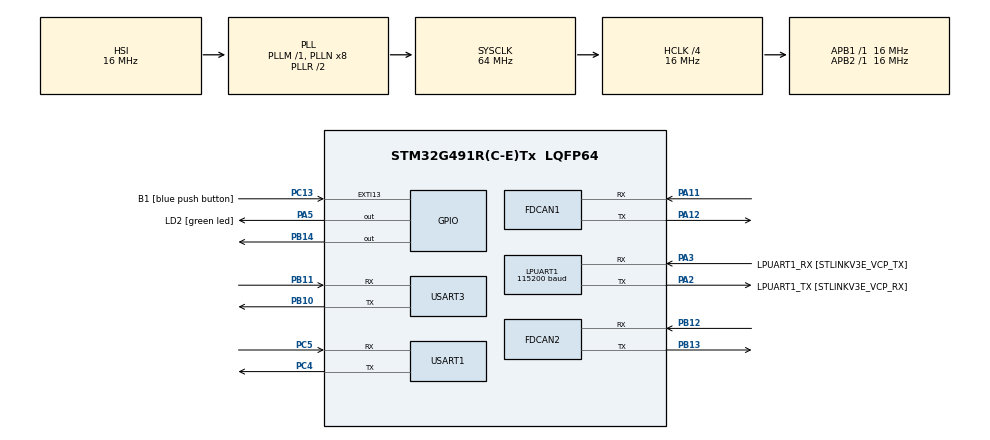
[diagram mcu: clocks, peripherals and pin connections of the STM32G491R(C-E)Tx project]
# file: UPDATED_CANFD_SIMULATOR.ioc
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FDCAN1.AutoRetransmission=ENABLE
FDCAN1.CalculateBaudRateNominal=250000
FDCAN1.CalculateTimeBitNominal=4000
FDCAN1.CalculateTimeQuantumNominal=500.0
FDCAN1.DataPrescaler=4
FDCAN1.DataSyncJumpWidth=5
FDCAN1.DataTimeSeg1=14
FDCAN1.DataTimeSeg2=5
FDCAN1.ExtFiltersNbr=5
FDCAN1.FrameFormat=FDCAN_FRAME_FD_NO_BRS
FDCAN1.NominalPrescaler=8
FDCAN1.NominalSyncJumpWidth=16
FDCAN1.NominalTimeSeg2=5
FDCAN1.ProtocolException=ENABLE
FDCAN1.StdFiltersNbr=12
FDCAN1.TransmitPause=ENABLE
FDCAN2.AutoRetransmission=ENABLE
FDCAN2.CalculateBaudRateNominal=250000
FDCAN2.CalculateTimeBitNominal=4000
FDCAN2.CalculateTimeQuantumNominal=500.0
FDCAN2.DataPrescaler=4
FDCAN2.DataSyncJumpWidth=5
FDCAN2.DataTimeSeg1=14
FDCAN2.DataTimeSeg2=5
FDCAN2.ExtFiltersNbr=5
FDCAN2.FrameFormat=FDCAN_FRAME_FD_NO_BRS
FDCAN2.NominalPrescaler=8
FDCAN2.NominalSyncJumpWidth=16
FDCAN2.NominalTimeSeg2=5
FDCAN2.ProtocolException=ENABLE
FDCAN2.StdFiltersNbr=12
FDCAN2.TransmitPause=ENABLE
LPUART1.BaudRate=115200
LPUART1.WordLength=UART_WORDLENGTH_8B
Mcu.Family=STM32G4
Mcu.Name=STM32G491R(C-E)Tx
Mcu.Package=LQFP64
NVIC.EXTI15_10_IRQn=true\:0\:0\:false\:false\:true\:true\:true\:true
NVIC.FDCAN1_IT0_IRQn=true\:0\:0\:false\:false\:true\:true\:true\:true
NVIC.FDCAN2_IT0_IRQn=true\:0\:0\:false\:false\:true\:true\:true\:true
NVIC.PriorityGroup=NVIC_PRIORITYGROUP_4
PA11.Mode=FDCAN_Activate
PA11.Signal=FDCAN1_RX
PA12.Mode=FDCAN_Activate
PA12.Signal=FDCAN1_TX
PA13.GPIO_Label=T_SWDIO
PA13.Mode=Serial_Wire
PA13.Signal=SYS_JTMS-SWDIO
PA14.GPIO_Label=T_SWCLK
PA14.Mode=Serial_Wire
PA14.Signal=SYS_JTCK-SWCLK
PA2.GPIO_Label=LPUART1_TX [STLINKV3E_VCP_RX]
PA2.Mode=Asynchronous
PA2.Signal=LPUART1_TX
PA3.GPIO_Label=LPUART1_RX [STLINKV3E_VCP_TX]
PA3.Mode=Asynchronous
PA3.Signal=LPUART1_RX
PA5.GPIO_Label=LD2 [green led]
PA5.Signal=GPIO_Output
PB10.Mode=Asynchronous
PB10.Signal=USART3_TX
PB11.Mode=Asynchronous
PB11.Signal=USART3_RX
PB12.Mode=FDCAN_Activate
PB12.Signal=FDCAN2_RX
PB13.Mode=FDCAN_Activate
PB13.Signal=FDCAN2_TX
PB14.Signal=GPIO_Output
PB3.GPIO_Label=T_SWO
PB3.Signal=SYS_JTDO-SWO
PC13.GPIO_Label=B1 [blue push button]
PC13.Signal=GPXTI13
PC14-OSC32_IN.Mode=LSE-External-Oscillator
PC14-OSC32_IN.Signal=RCC_OSC32_IN
PC15-OSC32_OUT.Mode=LSE-External-Oscillator
PC15-OSC32_OUT.Signal=RCC_OSC32_OUT
PC4.Mode=Asynchronous
PC4.Signal=USART1_TX
PC5.Mode=Asynchronous
PC5.Signal=USART1_RX
PF0-OSC_IN.Mode=HSE-External-Oscillator
PF0-OSC_IN.Signal=RCC_OSC_IN
PF1-OSC_OUT.Mode=HSE-External-Oscillator
PF1-OSC_OUT.Signal=RCC_OSC_OUT
ProjectManager.HeapSize=0x200
ProjectManager.StackSize=0x400
ProjectManager.TargetToolchain=STM32CubeIDE
RCC.ADC12Freq_Value=64000000
RCC.ADC345Freq_Value=64000000
RCC.AHBCLKDivider=RCC_SYSCLK_DIV4
RCC.AHBFreq_Value=16000000
RCC.APB1Freq_Value=16000000
RCC.APB1TimFreq_Value=16000000
RCC.APB2Freq_Value=16000000
RCC.APB2TimFreq_Value=16000000
RCC.CortexFreq_Value=16000000
RCC.EXTERNAL_CLOCK_VALUE=12288000
RCC.HCLKFreq_Value=16000000
RCC.HSE_VALUE=24000000
RCC.HSI48_VALUE=48000000
RCC.HSI_VALUE=16000000
RCC.RTCClockSelection=RCC_RTCCLKSOURCE_LSE
RCC.SYSCLKFreq_VALUE=64000000
RCC.SYSCLKSource=RCC_SYSCLKSOURCE_PLLCLK
RCC.USBFreq_Value=48000000
RCC.VCOOutputFreq_Value=128000000
USART1.VirtualMode-Asynchronous=VM_ASYNC
USART3.Parity=PARITY_NONE
USART3.VirtualMode-Asynchronous=VM_ASYNC
VP_SYS_VS_DBSignals.Mode=DisableDeadBatterySignals
board=NUCLEO-G491RE

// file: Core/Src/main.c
/* USER CODE BEGIN Header */
/* USER CODE END Header */
#include "main.h"

/* USER CODE BEGIN Includes */
#include <string.h>
/* USER CODE END Includes */

FDCAN_HandleTypeDef hfdcan1;
FDCAN_HandleTypeDef hfdcan2;

UART_HandleTypeDef hlpuart1;
UART_HandleTypeDef huart1;
UART_HandleTypeDef huart3;

/* USER CODE BEGIN PV */
#define size_rx 64
uint8_t ubKeyNumber = 0x0;
FDCAN_RxHeaderTypeDef RxHeader;
uint8_t RxData[16];
uint8_t RxData2[16];
FDCAN_TxHeaderTypeDef TxHeader;
uint8_t TxData[8];
uint8_t TxData0[] = { 0x10, 0x32, 0x54, 0x76, 0x98, 0x00, 0x11, 0x22, 0x33,
		0x44, 0x55, 0x66, 0x77, 0x88, 0x99, 0x00, 0x55, 0x55, 0x55, 0x55, 0x55,
		0x55, 0x55, 0x55, 0x55, 0x55, 0x55, 0x55, 0x55, 0x55, 0x55, 0x55, 0x55,
		0x55, 0x55, 0x55, 0x55, 0x55, 0x55, 0x55, 0x55, 0x55, 0x55, 0x55, 0x55,
		0x55, 0x55, 0x55, 0x55, 0x55, 0x55, 0x55 };

uint8_t TxData1[] = { 0x55, 0x55, 0x55, 0x55, 0x55, 0x55, 0x55, 0x55, 0x55,
		0x55, 0x55, 0x55 };
uint8_t TxData2[] = { 0xFF, 0x00, 0xFF, 0x00, 0xFF, 0x00, 0xFF, 0x00, 0xFF,
		0x00, 0x11, 0x22 };
uint8_t TxData4[];
uint8_t TxData5[];
uint8_t TxData6[];
uint8_t TxData7[];
uint8_t TxData8[];
uint8_t TxData9[];
/* USER CODE END PV */

void SystemClock_Config(void);
static void MX_GPIO_Init(void);
static void MX_LPUART1_UART_Init(void);
static void MX_USART1_UART_Init(void);
static void MX_USART3_UART_Init(void);
static void MX_FDCAN1_Init(void);
static void MX_FDCAN2_Init(void);
/* USER CODE BEGIN PFP */
static void FDCAN_Config(void);
static void FDCAN_Config2(void);

/* USER CODE END PFP */

/* USER CODE BEGIN 0 */
typedef int (* putchar_func_t)(int);
static putchar_func_t uart_putchar=NULL;
int uart1_putchar(int ch){
	HAL_UART_Transmit(&hlpuart1, (uint8_t*) &ch, 1, HAL_MAX_DELAY);
	return  ch;
}
int uart3_putchar(int ch){
	HAL_UART_Transmit(&huart3, (uint8_t*) &ch, 1, HAL_MAX_DELAY);
	return  ch;
}

int __io_putchar(int ch) {
	if(uart_putchar != NULL) {
		return uart_putchar(ch);

	}
	return ch;

}

void Transmit_Data(FDCAN_TxHeaderTypeDef *TxHeader,uint32_t data_id) {
	TxHeader->Identifier = data_id;
	TxHeader->IdType = FDCAN_STANDARD_ID;
	TxHeader->TxFrameType = FDCAN_DATA_FRAME;
	TxHeader->DataLength = FDCAN_DLC_BYTES_64;
	TxHeader->ErrorStateIndicator = FDCAN_ESI_ACTIVE;
	TxHeader->BitRateSwitch = FDCAN_BRS_ON;
	TxHeader->FDFormat = FDCAN_FD_CAN;
	TxHeader->TxEventFifoControl = FDCAN_STORE_TX_EVENTS;
	TxHeader->MessageMarker = 0x0;
}
void Transmit_Data_EXTENDED_ID(FDCAN_TxHeaderTypeDef *TxHeader,uint32_t data_id) {
	TxHeader->Identifier = data_id;
	TxHeader->IdType = FDCAN_EXTENDED_ID;
	TxHeader->TxFrameType = FDCAN_DATA_FRAME;
	TxHeader->DataLength = FDCAN_DLC_BYTES_64;
	TxHeader->ErrorStateIndicator = FDCAN_ESI_ACTIVE;
	TxHeader->BitRateSwitch = FDCAN_BRS_ON;
	TxHeader->FDFormat = FDCAN_FD_CAN;
	TxHeader->TxEventFifoControl = FDCAN_STORE_TX_EVENTS;
	TxHeader->MessageMarker = 0x0;
}

/* USER CODE END 0 */

int main(void)
{

  /* MCU Configuration--------------------------------------------------------*/

  /* Reset of all peripherals, Initializes the Flash interface and the Systick. */
  HAL_Init();

  /* Configure the system clock */
  SystemClock_Config();

  /* Initialize all configured peripherals */
  MX_GPIO_Init();
  MX_LPUART1_UART_Init();
  MX_USART1_UART_Init();
  MX_USART3_UART_Init();
  MX_FDCAN1_Init();
  MX_FDCAN2_Init();
  /* USER CODE BEGIN 2 */
	FDCAN_Config();
	FDCAN_Config2();
	while (1) {
		uart_putchar=uart1_putchar;

		printf("lOW POWER UART1 CANFD  SIMULATION TOOL  DATA IS COMING FROM CANFD2 TO CANFD1  \n");

		uart_putchar=uart3_putchar;

		printf("UART3 CANFD  SIMULATION TOOL  DATA IS COMING FROM CANFD1 TO CANFD2  \n");

		Transmit_Data(&TxHeader,0x321);

		if (HAL_FDCAN_AddMessageToTxFifoQ(&hfdcan2, &TxHeader, TxData0)!= HAL_OK) {
			/* Transmission request Error */
			Error_Handler();
		}

		HAL_Delay(100);
		for (int i = 0; i < 64; i++) {
			TxData4[i] = i;

		}
//		Transmit_Data(&TxHeader,0x322);
//
//		if (HAL_FDCAN_AddMessageToTxFifoQ(&hfdcan2, &TxHeader, TxData4)!= HAL_OK) {
//			/* Transmission request Error */
//			Error_Handler();
//		}
//
//		if (HAL_FDCAN_AddMessageToTxFifoQ(&hfdcan1, &TxHeader, TxData4)
//					!= HAL_OK) {
//				/* Transmission request Error */
//				Error_Handler();
//			}
		HAL_Delay(150);
//
		for (int i = 0; i < 64; i++) {
			TxData6[i] = 3 * i;

		}
		Transmit_Data(&TxHeader,0x323);

		if (HAL_FDCAN_AddMessageToTxFifoQ(&hfdcan2, &TxHeader, TxData6)
				!= HAL_OK) {
			/* Transmission request Error */
			Error_Handler();
		}

		if (HAL_FDCAN_AddMessageToTxFifoQ(&hfdcan1, &TxHeader, TxData6)
					!= HAL_OK) {
				/* Transmission request Error */
				Error_Handler();
			}
		HAL_Delay(200);
//
//		for (int i = 0; i < 64; i++) {
//			TxData5[i] = 2 * i;
//
//		}
//		Transmit_Data(&TxHeader,0x324);
//		if (HAL_FDCAN_AddMessageToTxFifoQ(&hfdcan2, &TxHeader, TxData5)
//				!= HAL_OK) {
//			/* Transmission request Error */
//			Error_Handler();
//		}
////
//		if (HAL_FDCAN_AddMessageToTxFifoQ(&hfdcan1, &TxHeader, TxData5)
//				!= HAL_OK) {
//			/* Transmission request Error */
//			Error_Handler();
//		}
//		HAL_Delay(250);
//
//		for (int i = 0; i < 64; i++) {
//				TxData9[i] = 8 * i;
//
//			}
//		Transmit_Data(&TxHeader,0x111);
//
//		if (HAL_FDCAN_AddMessageToTxFifoQ(&hfdcan1, &TxHeader, TxData9)
//				!= HAL_OK) {
//			/* Transmission request Error */
//			Error_Handler();
//		}
//
//		HAL_Delay(350);
//
//		/* Add second message to Tx FIFO */
//		for (int i = 0; i < 64; i++) {
//			TxData7[i] = 5 * i;
//
//		}
//
//		Transmit_Data_EXTENDED_ID(&TxHeader,0x1111112);
//
//
//
//		if (HAL_FDCAN_AddMessageToTxFifoQ(&hfdcan2, &TxHeader, TxData7)
//				!= HAL_OK) {
//			Error_Handler();
//		}
//		HAL_Delay(110);
//
//		for (int i = 0; i < 64; i++) {
//			TxData8[i] = 6 * i;
//
//		}
//		Transmit_Data_EXTENDED_ID(&TxHeader,0x1111113);
//
//		if (HAL_FDCAN_AddMessageToTxFifoQ(&hfdcan2, &TxHeader, TxData8)
//				!= HAL_OK) {
//			Error_Handler();
//		}
//		HAL_Delay(110);
		/* Add third message to Tx FIFO */

	}
  /* USER CODE END 2 */

  /* Infinite loop */

}

void SystemClock_Config(void)
{
  RCC_OscInitTypeDef RCC_OscInitStruct = {0};
  RCC_ClkInitTypeDef RCC_ClkInitStruct = {0};

  /** Configure the main internal regulator output voltage
  */
  HAL_PWREx_ControlVoltageScaling(PWR_REGULATOR_VOLTAGE_SCALE1);

  /** Initializes the RCC Oscillators according to the specified parameters
  * in the RCC_OscInitTypeDef structure.
  */
  RCC_OscInitStruct.OscillatorType = RCC_OSCILLATORTYPE_HSI;
  RCC_OscInitStruct.HSIState = RCC_HSI_ON;
  RCC_OscInitStruct.HSICalibrationValue = RCC_HSICALIBRATION_DEFAULT;
  RCC_OscInitStruct.PLL.PLLState = RCC_PLL_ON;
  RCC_OscInitStruct.PLL.PLLSource = RCC_PLLSOURCE_HSI;
  RCC_OscInitStruct.PLL.PLLM = RCC_PLLM_DIV1;
  RCC_OscInitStruct.PLL.PLLN = 8;
  RCC_OscInitStruct.PLL.PLLP = RCC_PLLP_DIV2;
  RCC_OscInitStruct.PLL.PLLQ = RCC_PLLQ_DIV2;
  RCC_OscInitStruct.PLL.PLLR = RCC_PLLR_DIV2;
  if (HAL_RCC_OscConfig(&RCC_OscInitStruct) != HAL_OK)
  {
    Error_Handler();
  }

  /** Initializes the CPU, AHB and APB buses clocks
  */
  RCC_ClkInitStruct.ClockType = RCC_CLOCKTYPE_HCLK|RCC_CLOCKTYPE_SYSCLK
                              |RCC_CLOCKTYPE_PCLK1|RCC_CLOCKTYPE_PCLK2;
  RCC_ClkInitStruct.SYSCLKSource = RCC_SYSCLKSOURCE_PLLCLK;
  RCC_ClkInitStruct.AHBCLKDivider = RCC_SYSCLK_DIV4;
  RCC_ClkInitStruct.APB1CLKDivider = RCC_HCLK_DIV1;
  RCC_ClkInitStruct.APB2CLKDivider = RCC_HCLK_DIV1;

  if (HAL_RCC_ClockConfig(&RCC_ClkInitStruct, FLASH_LATENCY_0) != HAL_OK)
  {
    Error_Handler();
  }
}

static void MX_FDCAN1_Init(void)
{

  hfdcan1.Instance = FDCAN1;
  hfdcan1.Init.ClockDivider = FDCAN_CLOCK_DIV1;
  hfdcan1.Init.FrameFormat = FDCAN_FRAME_FD_NO_BRS;
  hfdcan1.Init.Mode = FDCAN_MODE_NORMAL;
  hfdcan1.Init.AutoRetransmission = ENABLE;
  hfdcan1.Init.TransmitPause = ENABLE;
  hfdcan1.Init.ProtocolException = ENABLE;
  hfdcan1.Init.NominalPrescaler = 8;
  hfdcan1.Init.NominalSyncJumpWidth = 16;
  hfdcan1.Init.NominalTimeSeg1 = 2;
  hfdcan1.Init.NominalTimeSeg2 = 5;
  hfdcan1.Init.DataPrescaler = 4;
  hfdcan1.Init.DataSyncJumpWidth = 5;
  hfdcan1.Init.DataTimeSeg1 = 14;
  hfdcan1.Init.DataTimeSeg2 = 5;
  hfdcan1.Init.StdFiltersNbr = 12;
  hfdcan1.Init.ExtFiltersNbr = 5;
  hfdcan1.Init.TxFifoQueueMode = FDCAN_TX_FIFO_OPERATION;
  if (HAL_FDCAN_Init(&hfdcan1) != HAL_OK)
  {
    Error_Handler();
  }

}

static void MX_FDCAN2_Init(void)
{

  hfdcan2.Instance = FDCAN2;
  hfdcan2.Init.ClockDivider = FDCAN_CLOCK_DIV1;
  hfdcan2.Init.FrameFormat = FDCAN_FRAME_FD_NO_BRS;
  hfdcan2.Init.Mode = FDCAN_MODE_NORMAL;
  hfdcan2.Init.AutoRetransmission = ENABLE;
  hfdcan2.Init.TransmitPause = ENABLE;
  hfdcan2.Init.ProtocolException = ENABLE;
  hfdcan2.Init.NominalPrescaler = 8;
  hfdcan2.Init.NominalSyncJumpWidth = 16;
  hfdcan2.Init.NominalTimeSeg1 = 2;
  hfdcan2.Init.NominalTimeSeg2 = 5;
  hfdcan2.Init.DataPrescaler = 4;
  hfdcan2.Init.DataSyncJumpWidth = 5;
  hfdcan2.Init.DataTimeSeg1 = 14;
  hfdcan2.Init.DataTimeSeg2 = 5;
  hfdcan2.Init.StdFiltersNbr = 12;
  hfdcan2.Init.ExtFiltersNbr = 5;
  hfdcan2.Init.TxFifoQueueMode = FDCAN_TX_FIFO_OPERATION;
  if (HAL_FDCAN_Init(&hfdcan2) != HAL_OK)
  {
    Error_Handler();
  }

}

static void MX_LPUART1_UART_Init(void)
{

  hlpuart1.Instance = LPUART1;
  hlpuart1.Init.BaudRate = 115200;
  hlpuart1.Init.WordLength = UART_WORDLENGTH_8B;
  hlpuart1.Init.StopBits = UART_STOPBITS_1;
  hlpuart1.Init.Parity = UART_PARITY_NONE;
  hlpuart1.Init.Mode = UART_MODE_TX_RX;
  hlpuart1.Init.HwFlowCtl = UART_HWCONTROL_NONE;
  hlpuart1.Init.OneBitSampling = UART_ONE_BIT_SAMPLE_DISABLE;
  hlpuart1.Init.ClockPrescaler = UART_PRESCALER_DIV1;
  hlpuart1.AdvancedInit.AdvFeatureInit = UART_ADVFEATURE_NO_INIT;
  if (HAL_UART_Init(&hlpuart1) != HAL_OK)
  {
    Error_Handler();
  }
  if (HAL_UARTEx_SetTxFifoThreshold(&hlpuart1, UART_TXFIFO_THRESHOLD_1_8) != HAL_OK)
  {
    Error_Handler();
  }
  if (HAL_UARTEx_SetRxFifoThreshold(&hlpuart1, UART_RXFIFO_THRESHOLD_1_8) != HAL_OK)
  {
    Error_Handler();
  }
  if (HAL_UARTEx_DisableFifoMode(&hlpuart1) != HAL_OK)
  {
    Error_Handler();
  }

}

static void MX_USART1_UART_Init(void)
{

  huart1.Instance = USART1;
  huart1.Init.BaudRate = 115200;
  huart1.Init.WordLength = UART_WORDLENGTH_8B;
  huart1.Init.StopBits = UART_STOPBITS_1;
  huart1.Init.Parity = UART_PARITY_NONE;
  huart1.Init.Mode = UART_MODE_TX_RX;
  huart1.Init.HwFlowCtl = UART_HWCONTROL_NONE;
  huart1.Init.OverSampling = UART_OVERSAMPLING_16;
  huart1.Init.OneBitSampling = UART_ONE_BIT_SAMPLE_DISABLE;
  huart1.Init.ClockPrescaler = UART_PRESCALER_DIV1;
  huart1.AdvancedInit.AdvFeatureInit = UART_ADVFEATURE_NO_INIT;
  if (HAL_UART_Init(&huart1) != HAL_OK)
  {
    Error_Handler();
  }
  if (HAL_UARTEx_SetTxFifoThreshold(&huart1, UART_TXFIFO_THRESHOLD_1_8) != HAL_OK)
  {
    Error_Handler();
  }
  if (HAL_UARTEx_SetRxFifoThreshold(&huart1, UART_RXFIFO_THRESHOLD_1_8) != HAL_OK)
  {
    Error_Handler();
  }
  if (HAL_UARTEx_DisableFifoMode(&huart1) != HAL_OK)
  {
    Error_Handler();
  }

}

static void MX_USART3_UART_Init(void)
{

  huart3.Instance = USART3;
  huart3.Init.BaudRate = 115200;
  huart3.Init.WordLength = UART_WORDLENGTH_8B;
  huart3.Init.StopBits = UART_STOPBITS_1;
  huart3.Init.Parity = UART_PARITY_NONE;
  huart3.Init.Mode = UART_MODE_TX_RX;
  huart3.Init.HwFlowCtl = UART_HWCONTROL_NONE;
  huart3.Init.OverSampling = UART_OVERSAMPLING_16;
  huart3.Init.OneBitSampling = UART_ONE_BIT_SAMPLE_DISABLE;
  huart3.Init.ClockPrescaler = UART_PRESCALER_DIV1;
  huart3.AdvancedInit.AdvFeatureInit = UART_ADVFEATURE_NO_INIT;
  if (HAL_UART_Init(&huart3) != HAL_OK)
  {
    Error_Handler();
  }
  if (HAL_UARTEx_SetTxFifoThreshold(&huart3, UART_TXFIFO_THRESHOLD_1_8) != HAL_OK)
  {
    Error_Handler();
  }
  if (HAL_UARTEx_SetRxFifoThreshold(&huart3, UART_RXFIFO_THRESHOLD_1_8) != HAL_OK)
  {
    Error_Handler();
  }
  if (HAL_UARTEx_DisableFifoMode(&huart3) != HAL_OK)
  {
    Error_Handler();
  }

}

static void MX_GPIO_Init(void)
{
  GPIO_InitTypeDef GPIO_InitStruct = {0};

  /* GPIO Ports Clock Enable */
  __HAL_RCC_GPIOC_CLK_ENABLE();
  __HAL_RCC_GPIOF_CLK_ENABLE();
  __HAL_RCC_GPIOA_CLK_ENABLE();
  __HAL_RCC_GPIOB_CLK_ENABLE();

  /*Configure GPIO pin Output Level */
  HAL_GPIO_WritePin(LD2_GPIO_Port, LD2_Pin, GPIO_PIN_RESET);

  /*Configure GPIO pin Output Level */
  HAL_GPIO_WritePin(GPIOB, GPIO_PIN_14, GPIO_PIN_RESET);

  /*Configure GPIO pin : B1_Pin */
  GPIO_InitStruct.Pin = B1_Pin;
  GPIO_InitStruct.Mode = GPIO_MODE_IT_RISING;
  GPIO_InitStruct.Pull = GPIO_NOPULL;
  HAL_GPIO_Init(B1_GPIO_Port, &GPIO_InitStruct);

  /*Configure GPIO pin : LD2_Pin */
  GPIO_InitStruct.Pin = LD2_Pin;
  GPIO_InitStruct.Mode = GPIO_MODE_OUTPUT_PP;
  GPIO_InitStruct.Pull = GPIO_NOPULL;
  GPIO_InitStruct.Speed = GPIO_SPEED_FREQ_LOW;
  HAL_GPIO_Init(LD2_GPIO_Port, &GPIO_InitStruct);

  /*Configure GPIO pin : PB14 */
  GPIO_InitStruct.Pin = GPIO_PIN_14;
  GPIO_InitStruct.Mode = GPIO_MODE_OUTPUT_PP;
  GPIO_InitStruct.Pull = GPIO_NOPULL;
  GPIO_InitStruct.Speed = GPIO_SPEED_FREQ_LOW;
  HAL_GPIO_Init(GPIOB, &GPIO_InitStruct);

  /* EXTI interrupt init*/
  HAL_NVIC_SetPriority(EXTI15_10_IRQn, 0, 0);
  HAL_NVIC_EnableIRQ(EXTI15_10_IRQn);

}

/* USER CODE BEGIN 4 */

static void FDCAN_Config(void) {
	FDCAN_FilterTypeDef sFilterConfig;
	uint8_t filterIndex = 0;
	uint32_t filterIDs[4] = { 0x321, 0x322, 0x323, 0x324 };
	/* Configure Rx filter */

	sFilterConfig.FilterType = FDCAN_FILTER_DUAL;
	sFilterConfig.FilterConfig = FDCAN_FILTER_TO_RXFIFO0;

	for (uint8_t i = 0; i < 4; i++) {
		sFilterConfig.IdType = FDCAN_STANDARD_ID;
		sFilterConfig.FilterIndex = filterIndex++;
		sFilterConfig.FilterID1 = filterIDs[i];
		sFilterConfig.FilterID2 = filterIDs[i];
		if (HAL_FDCAN_ConfigFilter(&hfdcan1, &sFilterConfig) != HAL_OK) {
			Error_Handler();
		}

	}

	sFilterConfig.IdType = FDCAN_EXTENDED_ID;
	sFilterConfig.FilterIndex = filterIndex++;
	sFilterConfig.FilterID1 = 0x1111112;
	sFilterConfig.FilterID2 = 0x1111113;
	if (HAL_FDCAN_ConfigFilter(&hfdcan1, &sFilterConfig) != HAL_OK) {
		Error_Handler();
	}

	/* Configure global filter:
	 Filter all remote frames with STD and EXT ID
	 Reject non matching frames with STD ID and EXT ID */
	if (HAL_FDCAN_ConfigGlobalFilter(&hfdcan1, FDCAN_REJECT, FDCAN_REJECT,
	FDCAN_FILTER_REMOTE, FDCAN_FILTER_REMOTE) != HAL_OK) {
		Error_Handler();
	}

	/* Start the FDCAN module */
	if (HAL_FDCAN_Start(&hfdcan1) != HAL_OK) {
		Error_Handler();
	}

	if (HAL_FDCAN_ActivateNotification(&hfdcan1, FDCAN_IT_RX_FIFO0_NEW_MESSAGE,
			0) != HAL_OK) {
		Error_Handler();
	}

	/* Prepare Tx Header */

}
static void FDCAN_Config2(void) {
	FDCAN_FilterTypeDef sFilterConfig;

	/* Configure Rx filter */
	sFilterConfig.IdType = FDCAN_STANDARD_ID;
	sFilterConfig.FilterIndex = 0;
	sFilterConfig.FilterType = FDCAN_FILTER_DUAL;
	sFilterConfig.FilterConfig = FDCAN_FILTER_TO_RXFIFO0;
	sFilterConfig.FilterID1 = 0x111;
	sFilterConfig.FilterID2 = 0x324;
	if (HAL_FDCAN_ConfigFilter(&hfdcan2, &sFilterConfig) != HAL_OK) {
		Error_Handler();
	}

	/* Configure global filter:
	 Filter all remote frames with STD and EXT ID
	 Reject non matching frames with STD ID and EXT ID */
	if (HAL_FDCAN_ConfigGlobalFilter(&hfdcan2, FDCAN_REJECT, FDCAN_REJECT,
	FDCAN_FILTER_REMOTE, FDCAN_FILTER_REMOTE) != HAL_OK) {
		Error_Handler();
	}

	/* Start the FDCAN module */
	if (HAL_FDCAN_Start(&hfdcan2) != HAL_OK) {
		Error_Handler();
	}
//
	if (HAL_FDCAN_ActivateNotification(&hfdcan2, FDCAN_IT_RX_FIFO0_NEW_MESSAGE,
			0) != HAL_OK) {
		Error_Handler();
	}

	/* Prepare Tx Header */

}

/**
 * @brief  Rx FIFO 0 callback.
 * @param  hfdcan: pointer to an FDCAN_HandleTypeDef structure that contains
 *         the configuration information for the specified FDCAN.
 * @param  RxFifo0ITs: indicates which Rx FIFO 0 interrupts are signalled.
 *         This parameter can be any combination of @arg FDCAN_Rx_Fifo0_Interrupts.
 * @retval None
 */

void HAL_FDCAN_RxFifo0Callback(FDCAN_HandleTypeDef *hfdcan, uint32_t RxFifo0ITs) {
	if (hfdcan == &hfdcan1) {
		printf(" DATA IS COMMING ON CANFD1 ---- \n");
		if ((RxFifo0ITs & FDCAN_IT_RX_FIFO0_NEW_MESSAGE) != RESET) {
			/* Retrieve Rx messages from RX FIFO0 */
			if (HAL_FDCAN_GetRxMessage(hfdcan, FDCAN_RX_FIFO0, &RxHeader,
					RxData) != HAL_OK) {
				/* Reception Error */
				uart_putchar=uart1_putchar;

				printf("error \n");

				Error_Handler();
			}

			/* Display LEDx */
			if ((RxHeader.Identifier == 0x321)
					&& (RxHeader.IdType == FDCAN_STANDARD_ID)) {
				uart_putchar=uart1_putchar;

				ubKeyNumber = RxData[0];
				printf("CAN1 receiving CAN ID IS 0x321 ----- ");
				for (int i = 0; i < size_rx; i++) {

					printf("%02X ", RxData[i]);

				}
				printf("\n");

			}
			if ((RxHeader.Identifier == 0x322)
					&& (RxHeader.IdType == FDCAN_STANDARD_ID)) {
				uart_putchar=uart1_putchar;

				printf("CAN1  receiving CAN ID IS 0x322 ----- ");
				for (int i = 0; i < size_rx; i++) {

					printf("%02X ", RxData[i]);

				}
				printf("\n");

			}
			if ((RxHeader.Identifier == 0x323)
					&& (RxHeader.IdType == FDCAN_STANDARD_ID)) {
				uart_putchar=uart1_putchar;

				printf("CAN1 receiving CAN ID IS 0x323 ----- ");
				for (int i = 0; i < size_rx; i++) {

					printf("%02X ", RxData[i]);

				}
				printf("\n");

			}
			if ((RxHeader.Identifier == 0x324)
					&& (RxHeader.IdType == FDCAN_STANDARD_ID)) {
				uart_putchar=uart1_putchar;

				printf("CAN1  receiving CAN ID IS 0x324 ----- ");
				for (int i = 0; i < size_rx; i++) {

					printf("%02X ", RxData[i]);

				}
				printf("\n");

			}
			if ((RxHeader.Identifier == 0x1111112)
					&& (RxHeader.IdType == FDCAN_EXTENDED_ID)) {
				uart_putchar=uart1_putchar;

				printf("CAN1 receiving CAN ID IS 0x1111112 ----- ");
				for (int i = 0; i < size_rx; i++) {

					printf("%02X ", RxData[i]);

				}
				printf("\n");

			}
			if ((RxHeader.Identifier == 0x1111113)
					&& (RxHeader.IdType == FDCAN_EXTENDED_ID)) {
				uart_putchar=uart1_putchar;

				printf("CAN1 receiving CAN ID IS 0x1111113 ----- ");
				for (int i = 0; i < size_rx; i++) {

					printf("%02X ", RxData[i]);

				}
				printf("\n");

			}
			if (HAL_FDCAN_ActivateNotification(hfdcan,
			FDCAN_IT_RX_FIFO0_NEW_MESSAGE, 0) != HAL_OK) {
				/* Notification Error */
				uart_putchar=uart1_putchar;

				printf("error 3 \n");

				Error_Handler();
			}
		}
	} else if (hfdcan == &hfdcan2) {

		uart_putchar=uart3_putchar;
		printf(" DATA IS COMMING ON CANFD2 ---- \n");

		if ((RxFifo0ITs & FDCAN_IT_RX_FIFO0_NEW_MESSAGE) != RESET) {
			/* Retrieve Rx messages from RX FIFO0 */
			if (HAL_FDCAN_GetRxMessage(hfdcan, FDCAN_RX_FIFO0, &RxHeader,
					RxData) != HAL_OK) {
				/* Reception Error */

				printf(" ERROOR IS COMMING ON CANFD2 ---- \n");

				Error_Handler();
			}

			/* Display LEDx */
		if ((RxHeader.Identifier == 0x111) && (RxHeader.IdType == FDCAN_STANDARD_ID)) {
			uart_putchar=uart3_putchar;

				char ch[50];
int array[64];
printf(" CAN2 receiving  CAN ID IS 0x111---- ");

				for (int i = 0; i < size_rx; i++) {

					printf("%02X ", RxData[i]);

				}
				printf("\n");

			}

			}

	}

}

/* USER CODE END 4 */

void Error_Handler(void)
{
}
